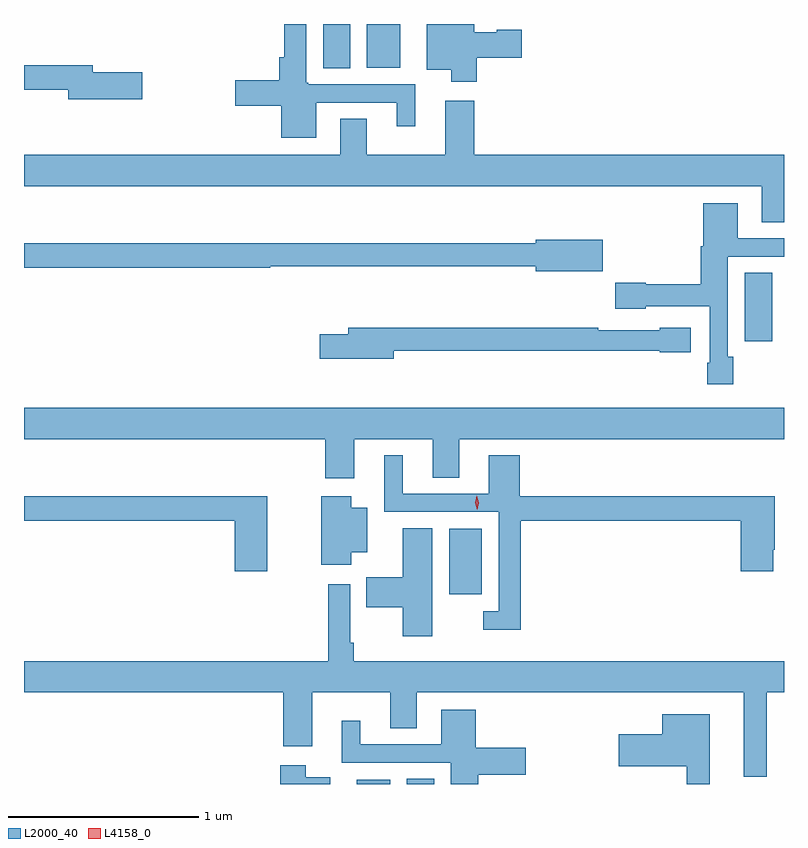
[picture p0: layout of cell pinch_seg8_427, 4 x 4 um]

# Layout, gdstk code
import gdstk
lib = gdstk.Library(unit=1e-6, precision=1e-09)
def R(c, l, rs):  # rectangles x0, y0, x1, y1
    for r in rs: c.add(gdstk.rectangle(r[:2], r[2:], *l))
def P(c, l, *ps):  # polygons
    for p in ps: c.add(gdstk.Polygon(p, *l))
L2000_40 = (2000, 40)
L4158_0 = (4158, 0)

pinch_seg8_427 = lib.new_cell('pinch_seg8_427')
R(pinch_seg8_427, L2000_40, [(254.552,1132.001,254.728,1132.024), (254.816,1132.001,254.959,1132.028), (255.038,1133,255.211,1133.344), (256.595,1134.33,256.738,1134.692), (254.375,1135.768,254.518,1136.001), (254.606,1135.772,254.782,1136.001)])
P(pinch_seg8_427, L2000_40, [(255.185,1135.823),(255.421,1135.823),(255.421,1135.97),(255.288,1135.97),(255.288,1135.957),(255.172,1135.957),(255.172,1136.001),(254.921,1136.001),(254.921,1135.76),(255.05,1135.76),(255.05,1135.698),(255.185,1135.698)],
  [(254.338,1135.587),(254.762,1135.587),(254.762,1135.464),(254.86,1135.464),(254.86,1135.683),(254.298,1135.683),(254.298,1135.693),(254.286,1135.693),(254.286,1136.001),(254.17,1136.001),(254.17,1135.825),(254.144,1135.825),(254.144,1135.706),(253.914,1135.706),(253.914,1135.571),(254.156,1135.571),(254.156,1135.403),(254.338,1135.403)],
  [(253.423,1135.748),(253.162,1135.748),(253.162,1135.784),(252.801,1135.784),(252.801,1135.656),(253.034,1135.656),(253.034,1135.606),(253.423,1135.606)],
  [(256.801,1135.312),(255.17,1135.312),(255.17,1135.597),(255.017,1135.597),(255.017,1135.312),(254.605,1135.312),(254.605,1135.502),(254.465,1135.502),(254.465,1135.312),(252.801,1135.312),(252.801,1135.148),(256.685,1135.148),(256.685,1134.958),(256.801,1134.958)],
  [(256.533,1134.249),(256.506,1134.249),(256.506,1134.777),(256.801,1134.777),(256.801,1134.873),(256.558,1134.873),(256.558,1135.057),(256.376,1135.057),(256.376,1134.831),(256.364,1134.831),(256.364,1134.632),(256.074,1134.632),(256.074,1134.64),(255.912,1134.64),(255.912,1134.503),(256.074,1134.503),(256.074,1134.516),(256.41,1134.516),(256.41,1134.217),(256.398,1134.217),(256.398,1134.105),(256.533,1134.105)],
  [(255.847,1134.865),(255.494,1134.865),(255.494,1134.847),(252.801,1134.847),(252.801,1134.718),(254.098,1134.718),(254.098,1134.726),(255.494,1134.726),(255.494,1134.7),(255.847,1134.7)],
  [(254.746,1134.282),(256.146,1134.282),(256.146,1134.274),(256.309,1134.274),(256.309,1134.403),(256.146,1134.403),(256.146,1134.39),(255.824,1134.39),(255.824,1134.403),(254.507,1134.403),(254.507,1134.369),(254.358,1134.369),(254.358,1134.239),(254.746,1134.239)],
  [(254.539,1133.816),(254.951,1133.816),(254.951,1133.614),(255.091,1133.614),(255.091,1133.816),(256.801,1133.816),(256.801,1133.98),(252.801,1133.98),(252.801,1133.816),(254.387,1133.816),(254.387,1133.61),(254.539,1133.61)],
  [(255.416,1133.386),(256.574,1133.386),(256.574,1133.121),(256.744,1133.121),(256.744,1133.233),(256.752,1133.233),(256.752,1133.515),(255.41,1133.515),(255.41,1133.731),(255.248,1133.731),(255.248,1133.529),(254.794,1133.529),(254.794,1133.731),(254.696,1133.731),(254.696,1133.433),(255.3,1133.433),(255.3,1132.911),(255.219,1132.911),(255.219,1132.814),(255.416,1132.814)],
  [(254.524,1133.222),(254.608,1133.222),(254.608,1133.455),(254.524,1133.455),(254.524,1133.515),(254.366,1133.515),(254.366,1133.154),(254.524,1133.154)],
  [(254.08,1133.515),(252.801,1133.515),(252.801,1133.386),(253.91,1133.386),(253.91,1133.121),(254.08,1133.121)],
  [(254.95,1133.348),(254.795,1133.348),(254.795,1133.089),(254.602,1133.089),(254.602,1132.931),(254.795,1132.931),(254.795,1132.779),(254.95,1132.779)],
  [(256.711,1132.484),(256.801,1132.484),(256.801,1132.648),(254.537,1132.648),(254.537,1132.744),(254.517,1132.744),(254.517,1133.053),(254.401,1133.053),(254.401,1132.648),(252.801,1132.648),(252.801,1132.484),(254.165,1132.484),(254.165,1132.2),(254.317,1132.2),(254.317,1132.484),(254.729,1132.484),(254.729,1132.294),(254.869,1132.294),(254.869,1132.484),(256.589,1132.484),(256.589,1132.04),(256.711,1132.04)],
  [(255.191,1132.049),(255.442,1132.049),(255.442,1132.191),(255.178,1132.191),(255.178,1132.393),(254.996,1132.393),(254.996,1132.209),(254.572,1132.209),(254.572,1132.333),(254.474,1132.333),(254.474,1132.113),(255.048,1132.113),(255.048,1132.001),(255.191,1132.001)],
  [(256.411,1132.369),(256.16,1132.369),(256.16,1132.264),(255.93,1132.264),(255.93,1132.094),(256.29,1132.094),(256.29,1132.001),(256.411,1132.001)],
  [(254.413,1132.036),(254.284,1132.036),(254.284,1132.099),(254.15,1132.099),(254.15,1132.001),(254.413,1132.001)])
P(pinch_seg8_427, L4158_0, [(255.186,1133.445),(255.186,1133.445),(255.175,1133.481),(255.183,1133.517),(255.183,1133.517),(255.184,1133.517),(255.195,1133.482),(255.186,1133.445)])

lib.write_gds('pinch_seg8_427.gds')
